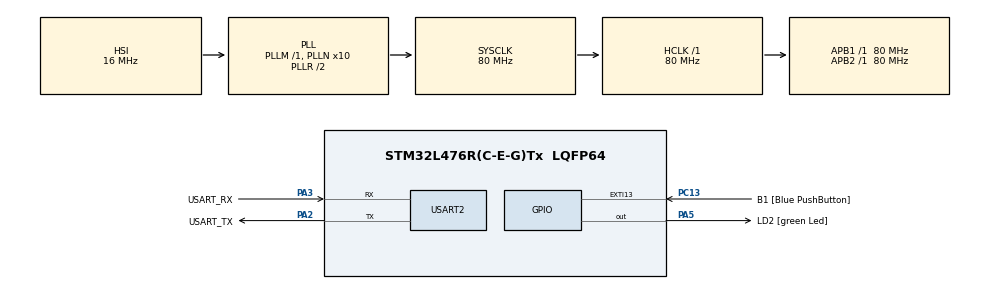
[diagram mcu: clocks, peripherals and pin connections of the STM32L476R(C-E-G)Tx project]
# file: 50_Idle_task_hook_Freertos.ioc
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FREERTOS.Tasks01=defaultTask,0,128,StartDefaultTask,Default,NULL,Dynamic,NULL,NULL
Mcu.Family=STM32L4
Mcu.Name=STM32L476R(C-E-G)Tx
Mcu.Package=LQFP64
NVIC.PriorityGroup=NVIC_PRIORITYGROUP_4
PA13\ (JTMS-SWDIO).GPIO_Label=TMS
PA13\ (JTMS-SWDIO).Mode=Serial_Wire
PA13\ (JTMS-SWDIO).Signal=SYS_JTMS-SWDIO
PA14\ (JTCK-SWCLK).GPIO_Label=TCK
PA14\ (JTCK-SWCLK).Mode=Serial_Wire
PA14\ (JTCK-SWCLK).Signal=SYS_JTCK-SWCLK
PA2.GPIO_Label=USART_TX
PA2.GPIO_Mode=GPIO_MODE_AF_PP
PA2.GPIO_PuPd=GPIO_NOPULL
PA2.GPIO_Speed=GPIO_SPEED_FREQ_VERY_HIGH
PA2.Mode=Asynchronous
PA2.Signal=USART2_TX
PA3.GPIO_Label=USART_RX
PA3.GPIO_Mode=GPIO_MODE_AF_PP
PA3.GPIO_PuPd=GPIO_NOPULL
PA3.GPIO_Speed=GPIO_SPEED_FREQ_VERY_HIGH
PA3.Mode=Asynchronous
PA3.Signal=USART2_RX
PA5.GPIO_Label=LD2 [green Led]
PA5.GPIO_ModeDefaultOutputPP=GPIO_MODE_OUTPUT_PP
PA5.GPIO_PuPd=GPIO_NOPULL
PA5.GPIO_Speed=GPIO_SPEED_FREQ_LOW
PA5.Signal=GPIO_Output
PB3\ (JTDO-TRACESWO).GPIO_Label=SWO
PB3\ (JTDO-TRACESWO).Signal=SYS_JTDO-SWO
PC13.GPIO_Label=B1 [Blue PushButton]
PC13.GPIO_ModeDefaultEXTI=GPIO_MODE_IT_FALLING
PC13.GPIO_PuPd=GPIO_NOPULL
PC13.Signal=GPXTI13
PC14-OSC32_IN\ (PC14).Mode=LSE-External-Oscillator
PC14-OSC32_IN\ (PC14).Signal=RCC_OSC32_IN
PC15-OSC32_OUT\ (PC15).Mode=LSE-External-Oscillator
PC15-OSC32_OUT\ (PC15).Signal=RCC_OSC32_OUT
PH0-OSC_IN\ (PH0).Signal=RCC_OSC_IN
PH1-OSC_OUT\ (PH1).Signal=RCC_OSC_OUT
ProjectManager.HeapSize=0x200
ProjectManager.StackSize=0x400
ProjectManager.TargetToolchain=STM32CubeIDE
RCC.ADCFreq_Value=64000000
RCC.AHBFreq_Value=80000000
RCC.APB1Freq_Value=80000000
RCC.APB1TimFreq_Value=80000000
RCC.APB2Freq_Value=80000000
RCC.APB2TimFreq_Value=80000000
RCC.CortexFreq_Value=80000000
RCC.HCLKFreq_Value=80000000
RCC.HSE_VALUE=8000000
RCC.HSI_VALUE=16000000
RCC.MSI_VALUE=4000000
RCC.PLLN=10
RCC.PLLSourceVirtual=RCC_PLLSOURCE_HSI
RCC.PREFETCH_ENABLE=1
RCC.SYSCLKFreq_VALUE=80000000
RCC.SYSCLKSource=RCC_SYSCLKSOURCE_PLLCLK
RCC.USBFreq_Value=64000000
RCC.VCOOutputFreq_Value=160000000
USART2.VirtualMode-Asynchronous=VM_ASYNC
VP_FREERTOS_VS_CMSIS_V1.Mode=CMSIS_V1
board=NUCLEO-L476RG

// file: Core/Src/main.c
/* USER CODE BEGIN Header */
/**
  ******************************************************************************
  * @file           : main.c
  * @brief          : Main program body
  ******************************************************************************
  * @attention
  *
  * Copyright (c) 2025 STMicroelectronics.
  * All rights reserved.
  *
  * This software is licensed under terms that can be found in the LICENSE file
  * in the root directory of this software component.
  * If no LICENSE file comes with this software, it is provided AS-IS.
  *
  ******************************************************************************
  */
/* USER CODE END Header */
#include "main.h"
#include "cmsis_os.h"

/* USER CODE BEGIN Includes */
#include<stdio.h>
#include<stdarg.h>
/* USER CODE END Includes */

UART_HandleTypeDef huart2;

osThreadId defaultTaskHandle;

void SystemClock_Config(void);
static void MX_GPIO_Init(void);
static void MX_USART2_UART_Init(void);
void StartDefaultTask(void const * argument);

/* USER CODE BEGIN 0 */
void debug_printf(const char *fmt, ...)
{
	char buffer[256];
	va_list args;
	va_start(args, fmt);
	vsnprintf(buffer, sizeof(buffer), fmt, args);
	va_end(args);
	uint16_t i = 0;
	while(buffer[i] != '\0')
	{
		ITM_SendChar(buffer[i]);
		i++;
	}
}

TaskHandle_t xTaskHandler1 = NULL ;
TaskHandle_t xTaskHandler2 = NULL ;
BaseType_t status;
void Task1_Handler(void *params)
{

	while(1)
	{
		debug_printf("Task-1 is printing\r\n");
		vTaskDelay(pdMS_TO_TICKS(1000));
	}
}
void Task2_Handler(void *params)
{
	while(1)
	{
		debug_printf("Task-2 is printing\r\n");
		vTaskDelay(pdMS_TO_TICKS(1000));

	}
}
void vApplicationIdleHook()
{
	__WFI();
}
/* USER CODE END 0 */

int main(void)
{

  /* MCU Configuration--------------------------------------------------------*/

  /* Reset of all peripherals, Initializes the Flash interface and the Systick. */
  HAL_Init();

  /* Configure the system clock */
  SystemClock_Config();

  /* Initialize all configured peripherals */
  MX_GPIO_Init();
  MX_USART2_UART_Init();

  /* Create the thread(s) */
  /* definition and creation of defaultTask */
  osThreadDef(defaultTask, StartDefaultTask, osPriorityNormal, 0, 128);
  defaultTaskHandle = osThreadCreate(osThread(defaultTask), NULL);

  /* USER CODE BEGIN RTOS_THREADS */
  /* add threads, ... */
  xTaskCreate(Task1_Handler,"Task1",200,NULL,1,&xTaskHandler1);
  xTaskCreate(Task2_Handler,"Task2",200,NULL,1,&xTaskHandler2);

  vTaskStartScheduler();
  /* USER CODE END RTOS_THREADS */

  /* Start scheduler */
  osKernelStart();

  /* We should never get here as control is now taken by the scheduler */

  /* Infinite loop */
  while (1)
  {

  }
}

void SystemClock_Config(void)
{
  RCC_OscInitTypeDef RCC_OscInitStruct = {0};
  RCC_ClkInitTypeDef RCC_ClkInitStruct = {0};

  /** Configure the main internal regulator output voltage
  */
  if (HAL_PWREx_ControlVoltageScaling(PWR_REGULATOR_VOLTAGE_SCALE1) != HAL_OK)
  {
    Error_Handler();
  }

  /** Initializes the RCC Oscillators according to the specified parameters
  * in the RCC_OscInitTypeDef structure.
  */
  RCC_OscInitStruct.OscillatorType = RCC_OSCILLATORTYPE_HSI;
  RCC_OscInitStruct.HSIState = RCC_HSI_ON;
  RCC_OscInitStruct.HSICalibrationValue = RCC_HSICALIBRATION_DEFAULT;
  RCC_OscInitStruct.PLL.PLLState = RCC_PLL_ON;
  RCC_OscInitStruct.PLL.PLLSource = RCC_PLLSOURCE_HSI;
  RCC_OscInitStruct.PLL.PLLM = 1;
  RCC_OscInitStruct.PLL.PLLN = 10;
  RCC_OscInitStruct.PLL.PLLP = RCC_PLLP_DIV7;
  RCC_OscInitStruct.PLL.PLLQ = RCC_PLLQ_DIV2;
  RCC_OscInitStruct.PLL.PLLR = RCC_PLLR_DIV2;
  if (HAL_RCC_OscConfig(&RCC_OscInitStruct) != HAL_OK)
  {
    Error_Handler();
  }

  /** Initializes the CPU, AHB and APB buses clocks
  */
  RCC_ClkInitStruct.ClockType = RCC_CLOCKTYPE_HCLK|RCC_CLOCKTYPE_SYSCLK
                              |RCC_CLOCKTYPE_PCLK1|RCC_CLOCKTYPE_PCLK2;
  RCC_ClkInitStruct.SYSCLKSource = RCC_SYSCLKSOURCE_PLLCLK;
  RCC_ClkInitStruct.AHBCLKDivider = RCC_SYSCLK_DIV1;
  RCC_ClkInitStruct.APB1CLKDivider = RCC_HCLK_DIV1;
  RCC_ClkInitStruct.APB2CLKDivider = RCC_HCLK_DIV1;

  if (HAL_RCC_ClockConfig(&RCC_ClkInitStruct, FLASH_LATENCY_4) != HAL_OK)
  {
    Error_Handler();
  }
}

static void MX_USART2_UART_Init(void)
{

  huart2.Instance = USART2;
  huart2.Init.BaudRate = 115200;
  huart2.Init.WordLength = UART_WORDLENGTH_8B;
  huart2.Init.StopBits = UART_STOPBITS_1;
  huart2.Init.Parity = UART_PARITY_NONE;
  huart2.Init.Mode = UART_MODE_TX_RX;
  huart2.Init.HwFlowCtl = UART_HWCONTROL_NONE;
  huart2.Init.OverSampling = UART_OVERSAMPLING_16;
  huart2.Init.OneBitSampling = UART_ONE_BIT_SAMPLE_DISABLE;
  huart2.AdvancedInit.AdvFeatureInit = UART_ADVFEATURE_NO_INIT;
  if (HAL_UART_Init(&huart2) != HAL_OK)
  {
    Error_Handler();
  }

}

static void MX_GPIO_Init(void)
{
  GPIO_InitTypeDef GPIO_InitStruct = {0};

  /* GPIO Ports Clock Enable */
  __HAL_RCC_GPIOC_CLK_ENABLE();
  __HAL_RCC_GPIOH_CLK_ENABLE();
  __HAL_RCC_GPIOA_CLK_ENABLE();
  __HAL_RCC_GPIOB_CLK_ENABLE();

  /*Configure GPIO pin Output Level */
  HAL_GPIO_WritePin(LD2_GPIO_Port, LD2_Pin, GPIO_PIN_RESET);

  /*Configure GPIO pin : B1_Pin */
  GPIO_InitStruct.Pin = B1_Pin;
  GPIO_InitStruct.Mode = GPIO_MODE_IT_FALLING;
  GPIO_InitStruct.Pull = GPIO_NOPULL;
  HAL_GPIO_Init(B1_GPIO_Port, &GPIO_InitStruct);

  /*Configure GPIO pin : LD2_Pin */
  GPIO_InitStruct.Pin = LD2_Pin;
  GPIO_InitStruct.Mode = GPIO_MODE_OUTPUT_PP;
  GPIO_InitStruct.Pull = GPIO_NOPULL;
  GPIO_InitStruct.Speed = GPIO_SPEED_FREQ_LOW;
  HAL_GPIO_Init(LD2_GPIO_Port, &GPIO_InitStruct);

}

void StartDefaultTask(void const * argument)
{
  for(;;)
  {
    osDelay(1);
  }
}

void Error_Handler(void)
{
  __disable_irq();
  while (1)
  {
  }
}
